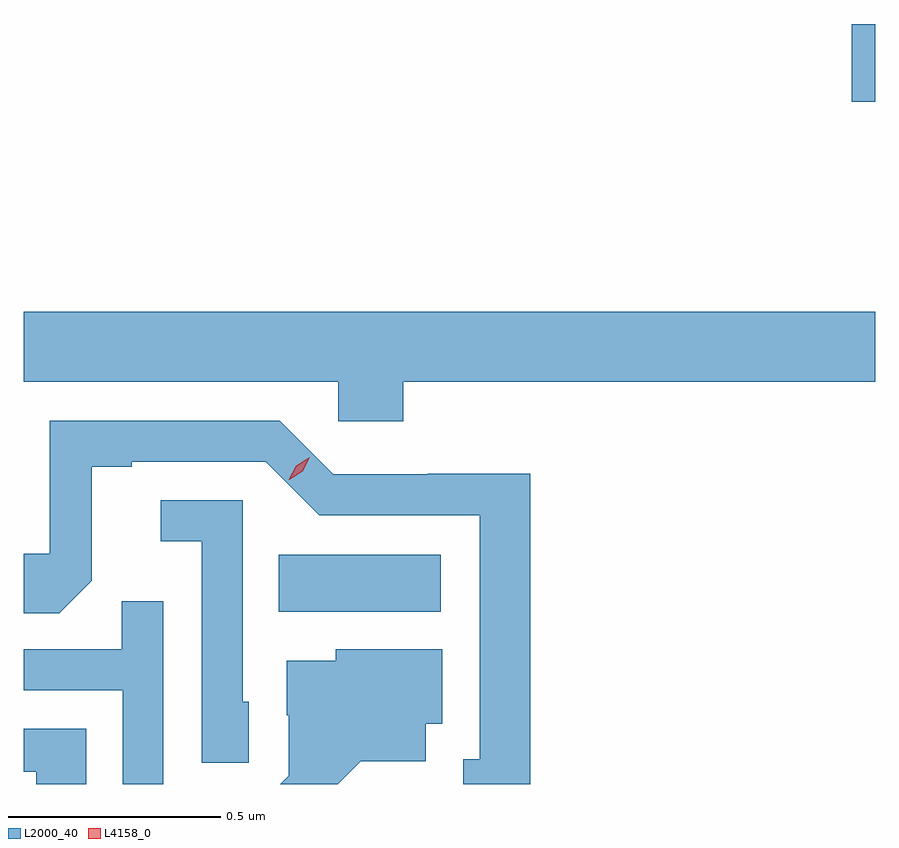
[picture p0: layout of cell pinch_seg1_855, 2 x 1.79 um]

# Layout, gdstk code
import gdstk
lib = gdstk.Library(unit=1e-6, precision=1e-09)
def R(c, l, rs):  # rectangles x0, y0, x1, y1
    for r in rs: c.add(gdstk.rectangle(r[:2], r[2:], *l))
def P(c, l, *ps):  # polygons
    for p in ps: c.add(gdstk.Polygon(p, *l))
L2000_40 = (2000, 40)
L4158_0 = (4158, 0)

pinch_seg1_855 = lib.new_cell('pinch_seg1_855')
R(pinch_seg1_855, L2000_40, [(482.134,571.172,482.515,571.306), (483.48,572.369,483.535,572.552)])
P(pinch_seg1_855, L2000_40, [(482.426,571.712),(483.535,571.712),(483.535,571.876),(481.535,571.876),(481.535,571.712),(482.274,571.712),(482.274,571.619),(482.426,571.619)],
  [(482.725,571.496),(482.484,571.496),(482.484,571.494),(482.262,571.494),(482.136,571.62),(481.596,571.62),(481.596,571.308),(481.535,571.308),(481.535,571.168),(481.619,571.168),(481.695,571.244),(481.695,571.512),(481.789,571.512),(481.789,571.524),(482.103,571.524),(482.229,571.398),(482.606,571.398),(482.606,570.825),(482.567,570.825),(482.567,570.767),(482.725,570.767)],
  [(482.064,570.96),(482.049,570.96),(482.049,571.434),(481.857,571.434),(481.857,571.337),(481.953,571.337),(481.953,570.817),(482.064,570.817)],
  [(481.863,571.196),(481.765,571.196),(481.765,571.083),(481.535,571.083),(481.535,570.987),(481.767,570.987),(481.767,570.767),(481.863,570.767)],
  [(482.327,570.821),(482.479,570.821),(482.479,570.908),(482.518,570.908),(482.518,571.084),(482.268,571.084),(482.268,571.057),(482.153,571.057),(482.153,570.928),(482.157,570.928),(482.157,570.786),(482.138,570.767),(482.272,570.767)],
  [(481.682,570.897),(481.535,570.897),(481.535,570.796),(481.564,570.796),(481.564,570.767),(481.682,570.767)])
P(pinch_seg1_855, L4158_0, [(482.158,571.482),(482.158,571.482),(482.175,571.515),(482.207,571.534),(482.207,571.534),(482.207,571.534),(482.19,571.502),(482.159,571.482)])

lib.write_gds('pinch_seg1_855.gds')
